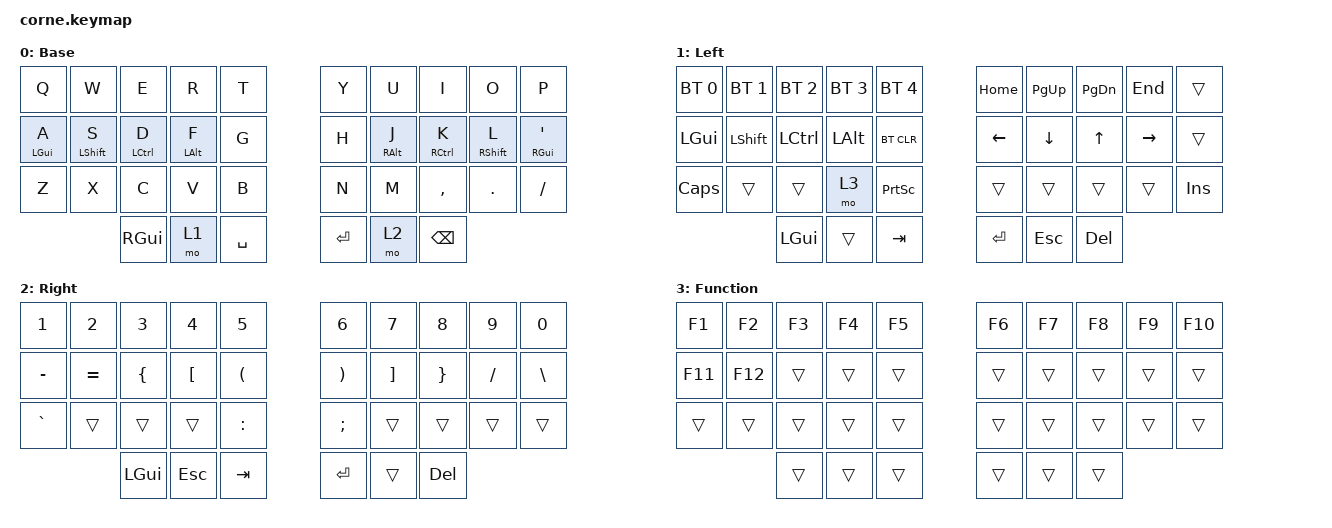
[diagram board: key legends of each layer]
/*
 * Copyright (c) 2020 The ZMK Contributors
 *
 * SPDX-License-Identifier: MIT
 */

#include <behaviors.dtsi>
#include <dt-bindings/zmk/keys.h>
#include <dt-bindings/zmk/bt.h>

/ {
chosen {
  zmk,matrix_transform = &five_column_transform;
};

keymap {
    compatible = "zmk,keymap";

 default_layer {
// -------------------------------------------------------------------------------------------------------------
// |  Q  |  W    |  E   |  R  |  T  |                                       |  Y  |  U   |  I   |  O   | P     |
// |  A  |  S    |  D   |  F  |  G  |                                       |  H  |  J   |  K   |  L   | '     |
// |  Z  |  X    |  C   |  V  |  B  |                                       |  N  |  M   | COMA |DOT   | /     |
//               | GUI  | LWR | SPC |                                       | ENT | RSE  | BSPC |
    display-name = "Base";
    bindings = <
        &kp Q      &kp W        &kp E       &kp R      &kp T                     &kp Y   &kp U      &kp I       &kp O        &kp P
        &mt LGUI A &mt LSHIFT S &mt LCTRL D &mt LALT F &kp G                     &kp H   &mt RALT J &mt RCTRL K &mt RSHIFT L &mt RGUI SQT
        &kp Z      &kp X        &kp C       &kp V      &kp B                     &kp N   &kp M      &kp COMMA   &kp DOT      &kp SLASH
                    &kp RGUI &mo 1 &kp SPACE                                     &kp RET &mo 2      &kp BSPC
    >;
};

left_layer {
// ---------------------------------------------------------------------------------------------------------------------
// | BTCLR | BT1 | BT2 | BT3 | BT4 |                                       | HOME | PAGE_DOWN | PAGE_UP | END |        |
// |       |     |     |     |     |                                       | LFT  | DOWN      | UP      | RGT |        |
// |       |     |     |     |     |                                       |      |           |         |     | INSERT |
//               | GUI |     | TAB |                                       | ENT  | ESC       | DEL     |
    display-name = "Left";
    bindings = <
        &bt BT_SEL 0 &bt BT_SEL 1 &bt BT_SEL 2 &bt BT_SEL 3 &bt BT_SEL 4        &kp HOME   &kp PG_UP  &kp PG_DN &kp END   &trans
        &kp LGUI     &kp LSHIFT   &kp LCTRL    &kp LALT     &bt BT_CLR          &kp LEFT   &kp DOWN   &kp UP    &kp RIGHT &trans 
        &kp CAPS     &trans       &trans       &mo 3        &kp PSCRN           &trans     &trans     &trans    &trans    &kp INS 
                                  &kp LGUI     &trans       &kp TAB             &kp RET    &kp ESC    &kp DEL
    >;
};

right_layer {
// ---------------------------------------------------------------------------------------------------------
// | 1! |  2@ |  3# |  4$ |  5% | some symbols are repeating (SHIFT)       |  6^ |  7& |  8* |  9(  |  0)  |
// | -_ |  =+ |  {  |  [  |  (  | should be reworked                       |  )  |  ]  |  }  |  /?  |  \|  |
// | `~ |     |     |     |  :  |                                          |  ;  |     |     |      |      |
//            | GUI | ESC | TAB |                                          | ENT |     | DEL |
    display-name = "Right";
    bindings = <
        &kp N1    &kp N2    &kp N3    &kp N4    &kp N5                          &kp N6    &kp N7    &kp N8   &kp N9   &kp N0
        &kp MINUS &kp EQUAL &kp LBRC  &kp LBKT  &kp LPAR                        &kp RPAR  &kp RBKT  &kp RBRC &kp FSLH &kp BSLH
        &kp GRAVE &trans    &trans    &trans    &kp COLON                       &kp SEMI  &trans    &trans   &trans   &trans
                            &kp LGUI  &kp ESC   &kp TAB                         &kp RET   &trans    &kp DEL
    >;
};

fn_layer {
    display-name = "Function";
    bindings = <
        &kp F1  &kp F2  &kp F3  &kp F4  &kp F5          &kp F6   &kp F7   &kp F8   &kp F9   &kp F10
        &kp F11 &kp F12 &trans &trans &trans           &trans   &trans   &trans   &trans   &trans
        &trans &trans  &trans &trans &trans            &trans   &trans   &trans   &trans   &trans
                 &trans &trans &trans                  &trans   &trans   &trans
    >;
};


        };
};
